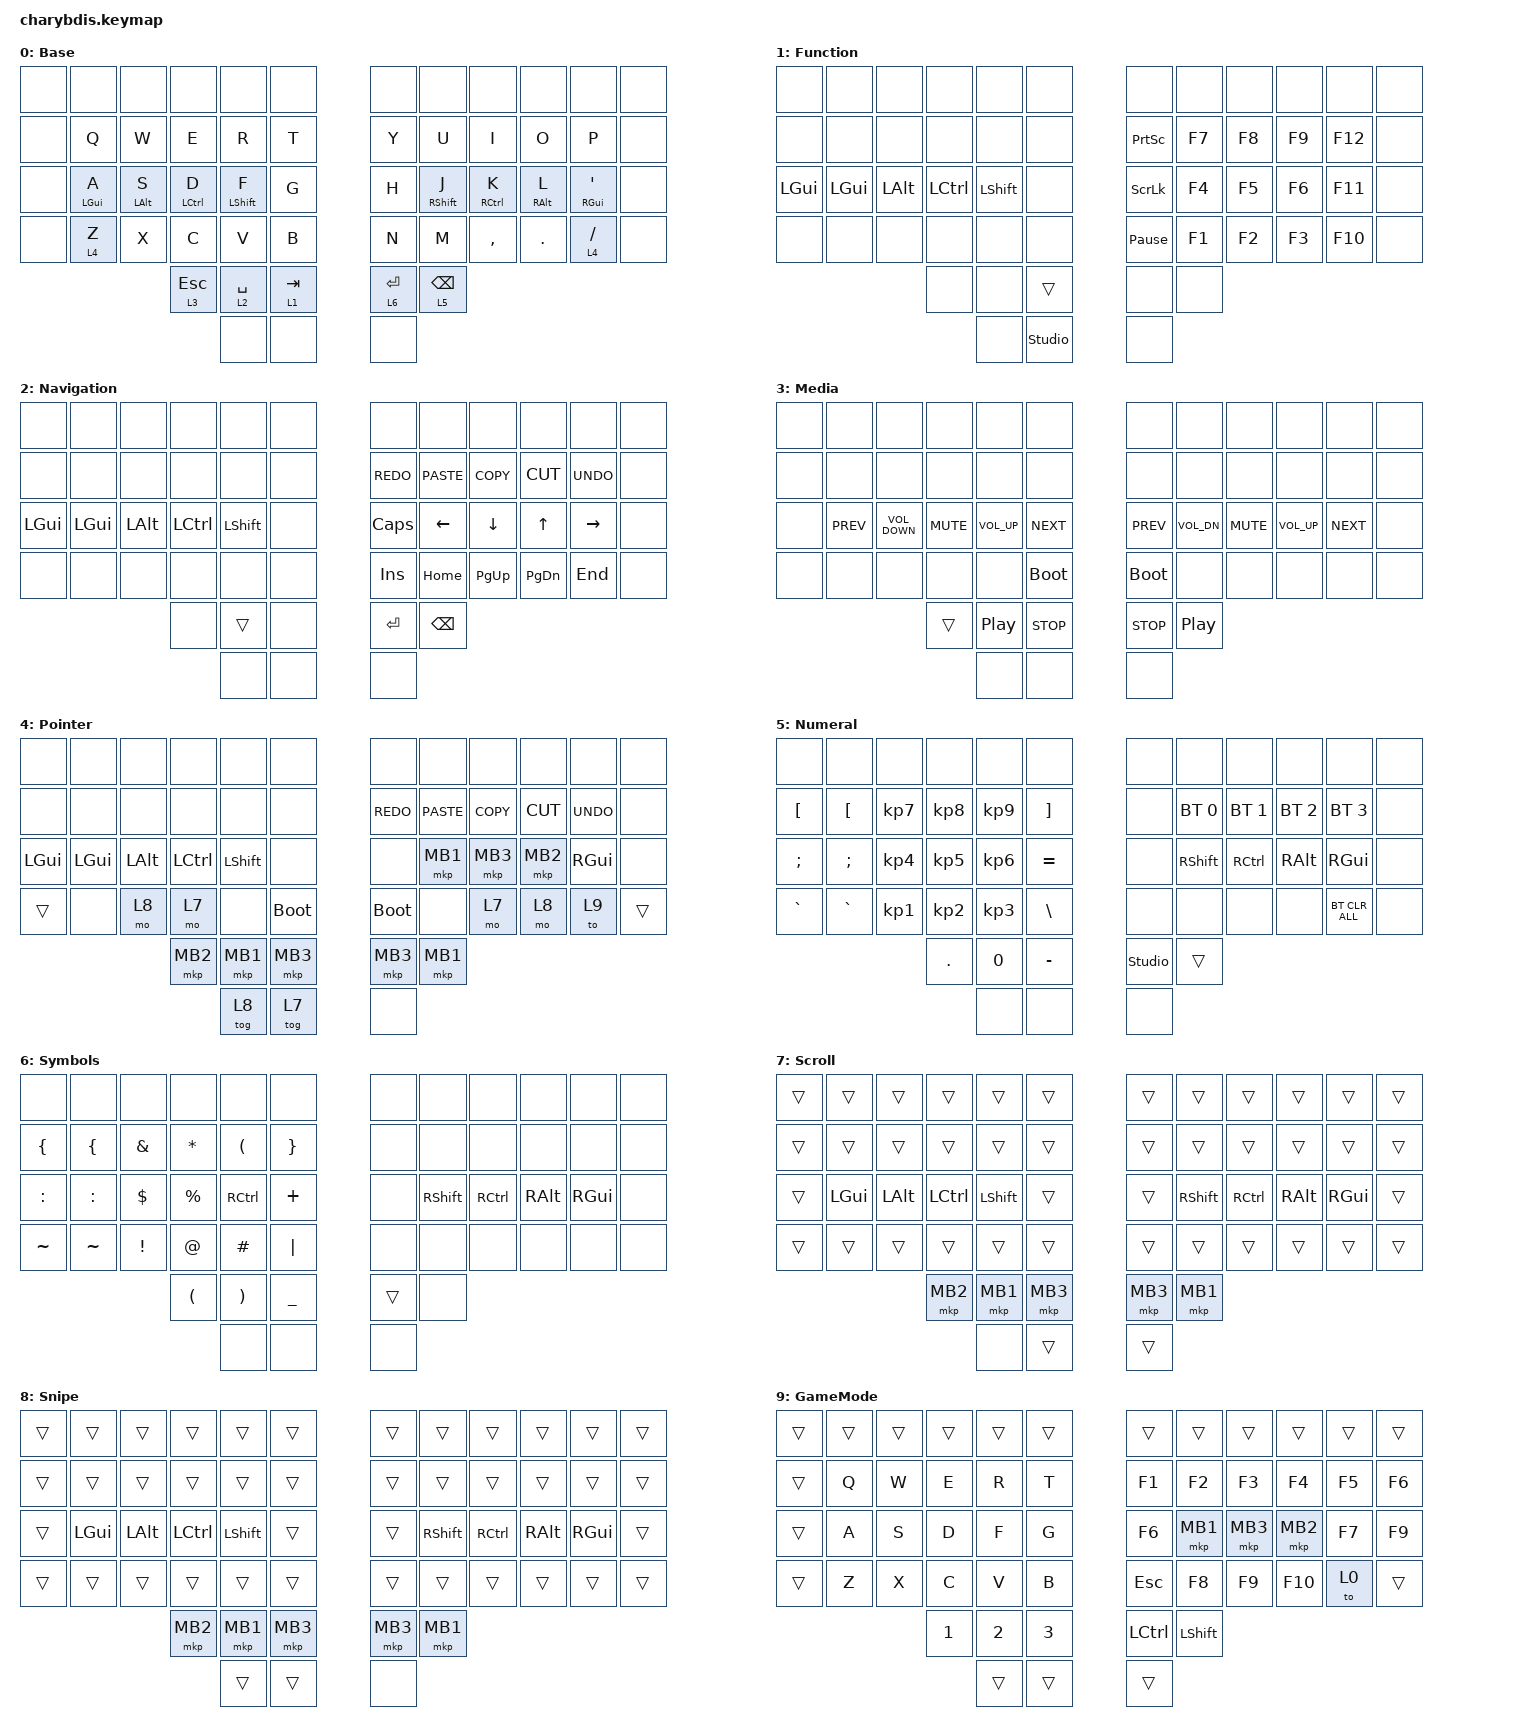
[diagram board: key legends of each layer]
#include <dt-bindings/zmk/mouse.h>
#include <behaviors.dtsi>
#include <dt-bindings/zmk/bt.h>
#include <dt-bindings/zmk/keys.h>
#include <dt-bindings/zmk/pointing.h>

&lt {
    tapping-term-ms = <200>;
    flavor = "tap-preferred";
    quick-tap-ms = <0>;
};

/ {
    combos { compatible = "zmk,combos"; };

    keymap {
        compatible = "zmk,keymap";

        Base {
            display-name = "Base";
            bindings = <
&none  &none       &none       &none         &none         &none        &none        &none            &none        &none       &none          &none
&none  &kp Q       &kp W       &kp E         &kp R         &kp T        &kp Y        &kp U            &kp I        &kp O       &kp P          &none
&none  &mt LGUI A  &mt LALT S  &mt LCTRL D   &mt LSHIFT F  &kp G        &kp H        &mt RSHIFT J     &mt RCTRL K  &mt RALT L  &mt RGUI APOS  &none
&none  &lt 4 Z     &kp X       &kp C         &kp V         &kp B        &kp N        &kp M            &kp COMMA    &kp DOT     &lt 4 SLASH    &none
                               &lt 3 ESCAPE  &lt 2 SPACE   &lt 1 TAB    &lt 6 ENTER  &lt 5 BACKSPACE
                                             &none         &none        &none
            >;
        };

        Function {
            display-name = "Function";
            bindings = <
&none     &none     &none     &none      &none      &none             &none            &none   &none   &none   &none    &none
&none     &none     &none     &none      &none      &none             &kp PSCRN        &kp F7  &kp F8  &kp F9  &kp F12  &none
&kp LGUI  &kp LGUI  &kp LALT  &kp LCTRL  &kp LSHFT  &none             &kp SCROLLLOCK   &kp F4  &kp F5  &kp F6  &kp F11  &none
&none     &none     &none     &none      &none      &none             &kp PAUSE_BREAK  &kp F1  &kp F2  &kp F3  &kp F10  &none
                              &none      &none      &trans            &none            &none
                                         &none      &studio_unlock    &none
            >;
        };

        Navigation {
            display-name = "Navigation";
            bindings = <
&none     &none     &none     &none      &none      &none    &none         &none          &none        &none          &none       &none
&none     &none     &none     &none      &none      &none    &kp K_REDO    &kp K_PASTE    &kp K_COPY   &kp K_CUT      &kp K_UNDO  &none
&kp LGUI  &kp LGUI  &kp LALT  &kp LCTRL  &kp LSHFT  &none    &kp CAPSLOCK  &kp LEFT       &kp DOWN     &kp UP         &kp RIGHT   &none
&none     &none     &none     &none      &none      &none    &kp INSERT    &kp HOME       &kp PAGE_UP  &kp PAGE_DOWN  &kp END     &none
                              &none      &trans     &none    &kp ENTER     &kp BACKSPACE
                                         &none      &none    &none
            >;
        };

        Media {
            display-name = "Media";
            bindings = <
&none  &none       &none              &none       &none             &none          &none        &none             &none       &none         &none       &none
&none  &none       &none              &none       &none             &none          &none        &none             &none       &none         &none       &none
&none  &kp C_PREV  &kp C_VOLUME_DOWN  &kp C_MUTE  &kp C_VOLUME_UP   &kp C_NEXT     &kp C_PREV   &kp C_VOL_DN      &kp C_MUTE  &kp C_VOL_UP  &kp C_NEXT  &none
&none  &none       &none              &none       &none             &bootloader    &bootloader  &none             &none       &none         &none       &none
                                      &trans      &kp C_PLAY_PAUSE  &kp C_STOP     &kp C_STOP   &kp C_PLAY_PAUSE
                                                  &none             &none          &none
            >;
        };

        Pointer {
            display-name = "Pointer";
            bindings = <
&none     &none     &none     &none      &none      &none          &none        &none        &none       &none      &none       &none
&none     &none     &none     &none      &none      &none          &kp K_REDO   &kp K_PASTE  &kp K_COPY  &kp K_CUT  &kp K_UNDO  &none
&kp LGUI  &kp LGUI  &kp LALT  &kp LCTRL  &kp LSHFT  &none          &none        &mkp MB1     &mkp MB3    &mkp MB2   &kp RGUI    &none
&trans    &none     &mo 8     &mo 7      &none      &bootloader    &bootloader  &none        &mo 7       &mo 8      &to 9       &trans
                              &mkp MB2   &mkp MB1   &mkp MB3       &mkp MB3     &mkp MB1
                                         &tog 8     &tog 7         &none
            >;
        };

        Numeral {
            display-name = "Numeral";
            bindings = <
&none      &none             &none            &none            &none            &none        &none           &none         &none         &none         &none           &none
&kp LBKT   &kp LEFT_BRACKET  &kp KP_NUMBER_7  &kp KP_NUMBER_8  &kp KP_NUMBER_9  &kp RBKT     &none           &bt BT_SEL 0  &bt BT_SEL 1  &bt BT_SEL 2  &bt BT_SEL 3    &none
&kp SEMI   &kp SEMICOLON     &kp KP_NUMBER_4  &kp KP_NUMBER_5  &kp KP_NUMBER_6  &kp EQUAL    &none           &kp RSHIFT    &kp RCTRL     &kp RALT      &kp RGUI        &none
&kp GRAVE  &kp GRAVE         &kp KP_NUMBER_1  &kp KP_NUMBER_2  &kp KP_NUMBER_3  &kp BSLH     &none           &none         &none         &none         &bt BT_CLR_ALL  &none
                                              &kp DOT          &kp N0           &kp MINUS    &studio_unlock  &trans
                                                               &none            &none        &none
            >;
        };

        Symbols {
            display-name = "Symbols";
            bindings = <
&none      &none           &none       &none                 &none                  &none              &none   &none       &none      &none     &none     &none
&kp LBRC   &kp LEFT_BRACE  &kp AMPS    &kp ASTERISK          &kp LEFT_PARENTHESIS   &kp RIGHT_BRACE    &none   &none       &none      &none     &none     &none
&kp COLON  &kp COLON       &kp DOLLAR  &kp PRCNT             &kp RCTRL              &kp PLUS           &none   &kp RSHIFT  &kp RCTRL  &kp RALT  &kp RGUI  &none
&kp TILDE  &kp TILDE       &kp EXCL    &kp AT                &kp HASH               &kp PIPE           &none   &none       &none      &none     &none     &none
                                       &kp LEFT_PARENTHESIS  &kp RIGHT_PARENTHESIS  &kp UNDERSCORE     &trans  &none
                                                             &none                  &none              &none
            >;
        };

        Scroll {
            display-name = "Scroll";
            bindings = <
&trans  &trans    &trans    &trans     &trans     &trans      &trans    &trans     &trans     &trans    &trans    &trans
&trans  &trans    &trans    &trans     &trans     &trans      &trans    &trans     &trans     &trans    &trans    &trans
&trans  &kp LGUI  &kp LALT  &kp LCTRL  &kp LSHFT  &trans      &trans    &kp RSHFT  &kp RCTRL  &kp RALT  &kp RGUI  &trans
&trans  &trans    &trans    &trans     &trans     &trans      &trans    &trans     &trans     &trans    &trans    &trans
                            &mkp MB2   &mkp MB1   &mkp MB3    &mkp MB3  &mkp MB1
                                       &none      &trans      &trans
            >;
        };

        Snipe {
            display-name = "Snipe";
            bindings = <
&trans  &trans    &trans    &trans     &trans     &trans      &trans    &trans     &trans     &trans    &trans    &trans
&trans  &trans    &trans    &trans     &trans     &trans      &trans    &trans     &trans     &trans    &trans    &trans
&trans  &kp LGUI  &kp LALT  &kp LCTRL  &kp LSHFT  &trans      &trans    &kp RSHFT  &kp RCTRL  &kp RALT  &kp RGUI  &trans
&trans  &trans    &trans    &trans     &trans     &trans      &trans    &trans     &trans     &trans    &trans    &trans
                            &mkp MB2   &mkp MB1   &mkp MB3    &mkp MB3  &mkp MB1
                                       &trans     &trans      &none
            >;
        };

        GameMode {
            bindings = <
&trans  &trans  &trans  &trans  &trans  &trans    &trans     &trans     &trans    &trans    &trans  &trans
&trans  &kp Q   &kp W   &kp E   &kp R   &kp T     &kp F1     &kp F2     &kp F3    &kp F4    &kp F5  &kp F6
&trans  &kp A   &kp S   &kp D   &kp F   &kp G     &kp F6     &mkp MB1   &mkp MB3  &mkp MB2  &kp F7  &kp F9
&trans  &kp Z   &kp X   &kp C   &kp V   &kp B     &kp ESC    &kp F8     &kp F9    &kp F10   &to 0   &trans
                        &kp N1  &kp N2  &kp N3    &kp LCTRL  &kp LSHFT
                                &trans  &trans    &trans
            >;
        };
    };
};
